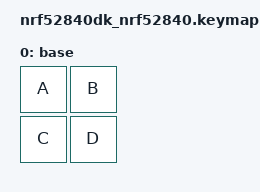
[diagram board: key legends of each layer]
#include <behaviors.dtsi>
#include <dt-bindings/zmk/keys.h>

/ {
    keymap {
        compatible = "zmk,keymap";

        layer_1 {
            label = "base";
            bindings = <
                &kp A &kp B
                &kp C &kp D
            >;
        };
    };
};
